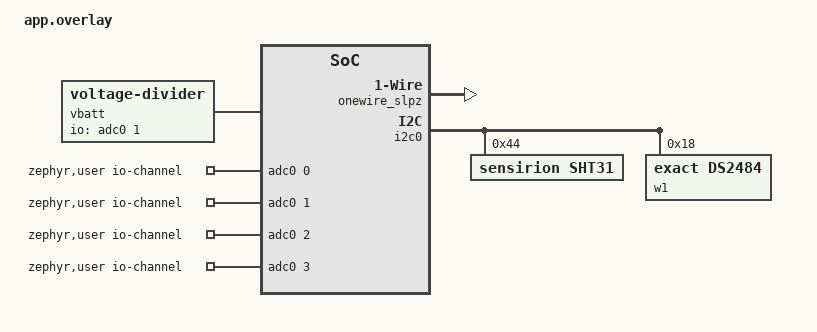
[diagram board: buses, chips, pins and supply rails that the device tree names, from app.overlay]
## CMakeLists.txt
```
# SPDX-License-Identifier: Apache-2.0

cmake_minimum_required(VERSION 3.20.0)
find_package(Zephyr REQUIRED HINTS $ENV{ZEPHYR_BASE})

project(etc_sensor_splitter_test)

set(APP_SRC_DIR ../../../../applications/etc-app/src)
set(EXACT_DIR ${ZEPHYR_ETC_COMMON_FIRMWARE_MODULE_DIR})

target_compile_options(app PRIVATE -Wno-error=double-promotion)

target_sources(app PRIVATE
  src/main.c
  src/digital.c
  src/mock/mock_deps.c
  src/mock/stub_devices.c
  ${APP_SRC_DIR}/exact/etc_sensor/etc_sensor.c
)

target_include_directories(app PRIVATE
  src
  ${APP_SRC_DIR}
  ${APP_SRC_DIR}/exact/etc_sensor
  ${APP_SRC_DIR}/exact/etc_devices
  ${APP_SRC_DIR}/exact/etc_battery
  ${APP_SRC_DIR}/exact/etc_calibration
  ${APP_SRC_DIR}/exact/etc_settings
  ${APP_SRC_DIR}/modules
  ${EXACT_DIR}/lib/adc
  ${EXACT_DIR}/drivers/sensor/tmp1826
)

zephyr_compile_definitions(CONFIG_ETC_SENSOR_LOG_LEVEL=3)
```

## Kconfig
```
# SPDX-License-Identifier: Apache-2.0

# The real symbols live under "if BOARD_ETC" in the board Kconfig and under
# "menuconfig ETC_SENSOR" in applications/etc-app/src/exact/etc_sensor/Kconfig,
# neither of which can be sourced for native_sim. Keep these in step with them.

config BOARD_ETC_0_3_0
	bool
	default y

config ETC_SENSOR_TMP1826_GPIO_RETRIES
	int
	default 3

config ETC_SENSOR_HW_LOCK_TIMEOUT_S
	int
	default 15

config CALIBRATION_TIMEOUT
	int
	default 30

# Referenced by etc_settings.h, whose real providers (LwM2M, the settings
# subsystem) are not part of this suite.
config LWM2M_SECURITY_KEY_SIZE
	int
	default 32

config SERIAL_NUMBER_TYPE
	int
	default 0

source "Kconfig.zephyr"
```

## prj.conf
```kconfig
CONFIG_ZTEST=y
CONFIG_HEAP_MEM_POOL_SIZE=4096

# etc_sensor.c pulls in event headers that need the Application Event Manager to
# compile.
CONFIG_APP_EVENT_MANAGER=y
CONFIG_APP_EVENT_MANAGER_LOG_EVENT_TYPE=n

CONFIG_GPIO=y
CONFIG_W1=y
CONFIG_SENSOR=y
CONFIG_REQUIRES_FLOAT_PRINTF=y
CONFIG_LOG=y
```

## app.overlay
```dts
/*
 * Copyright (c) 2026 EXACT Technology Corporation
 */

#include <zephyr/dt-bindings/gpio/gpio.h>

/ {
	vbatt {
		compatible = "voltage-divider";
		output-ohms = <2000000>;
		full-ohms = <4000000>;
		io-channels = <&adc0 1>;
	};

	board-control {
		vsens_enable: vsens-enable {
			compatible = "etc,output";
			control-gpios = <&gpio0 0 GPIO_ACTIVE_LOW>;
			status = "okay";
		};
		sens_sel0: sens-sel0 {
			compatible = "etc,output";
			control-gpios = <&gpio0 1 GPIO_ACTIVE_HIGH>;
			status = "okay";
		};
		sens_sel1: sens-sel1 {
			compatible = "etc,output";
			control-gpios = <&gpio0 2 GPIO_ACTIVE_HIGH>;
			status = "okay";
		};
		onewire_slpz: onewire-slpz {
			compatible = "etc,output";
			control-gpios = <&gpio0 3 GPIO_ACTIVE_LOW>;
			status = "okay";
		};
		/* Present on board 0.3.0. etc_sensor_gpios_enable() only configures
		 * sens_sel0 as an output when this node exists. */
		hw_wdt: hw-wdt {
			compatible = "etc,output";
			control-gpios = <&gpio0 4 GPIO_ACTIVE_HIGH>;
			status = "okay";
		};
	};

	zephyr,user {
		io-channels = <&adc0 0>, <&adc0 1>, <&adc0 2>, <&adc0 3>;
	};
};

&i2c0 {
	status = "okay";

	sht31: sht31@44 {
		compatible = "sensirion,sht31";
		reg = <0x44>;
		status = "okay";
	};

	w1: w1@18 {
		compatible = "exact,ds2484";
		reg = <0x18>;

		w1_tmp1826: w1_tmp1826 {
			compatible = "ti,tmp1826";
			family-code = <0x26>;
			resolution = <12>;
			status = "okay";
		};
	};
};
```

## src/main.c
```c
/*
 * Copyright (c) 2026 EXACT Technology Corporation
 *
 * Splitter detection and branch sampling in etc_sensor.c. Inputs 1..4 are the A
 * branches of the four front-end ports, inputs 5..8 the B branches, so input 7
 * is what the portal shows as port 3.B.
 */

#include <zephyr/ztest.h>

#include "mock/mock_deps.h"

#include "etc_sensor.h"
#include "events/sensor_event.h"
#include "tmp1826.h"

/* Raw ADC counts chosen so every probe in a test converts to a distinct
 * temperature. */
#define ADC_P1_A 1800
#define ADC_P1_B 1900
#define ADC_P2_A 2000
#define ADC_P2_B 2100
#define ADC_P3	 2200
#define ADC_P4	 2300

static void expect_absent(enum sensor_input input)
{
	float temp = etc_sensor_get_probe_temp(input);

	zassert_false(sensor_temperature_is_valid(temp), "input %d reported %.2f C, expected absent",
		      (int)input + 1, (double)temp);
}

static void expect_probe(enum sensor_input input, int raw_adc)
{
	float temp = etc_sensor_get_probe_temp(input);

	zassert_true(sensor_temperature_is_valid(temp), "input %d absent, expected %.2f C",
		     (int)input + 1, (double)mock_temperature(raw_adc));
	zassert_within(temp, mock_temperature(raw_adc), 0.1f, "input %d reported %.2f C, expected %.2f C",
		       (int)input + 1, (double)temp, (double)mock_temperature(raw_adc));
}

static void acquire(void)
{
	zassert_ok(etc_sensor_run_acquisition(), "acquisition failed");
}

static void before(void *fixture)
{
	ARG_UNUSED(fixture);
	mock_reset();
	etc_sensor_init(NULL);
}

ZTEST_SUITE(etc_sensor_splitter, NULL, NULL, before, NULL, NULL);

/* The configuration from FW-1071: splitters on ports 1 and 2, plain probes
 * wired directly to ports 3 and 4. Ports 3 and 4 have no B branch. */
ZTEST(etc_sensor_splitter, test_probe_without_splitter_has_no_b_branch)
{
	mock_attach_splitter(0, ADC_P1_A, ADC_P1_B);
	mock_attach_splitter(1, ADC_P2_A, ADC_P2_B);
	mock_attach_probe(2, ADC_P3);
	mock_attach_probe(3, ADC_P4);

	acquire();

	expect_probe(SENSOR_INPUT_IN1, ADC_P1_A);
	expect_probe(SENSOR_INPUT_IN2, ADC_P2_A);
	expect_probe(SENSOR_INPUT_IN3, ADC_P3);
	expect_probe(SENSOR_INPUT_IN4, ADC_P4);
	expect_probe(SENSOR_INPUT_IN5, ADC_P1_B);
	expect_probe(SENSOR_INPUT_IN6, ADC_P2_B);
	expect_absent(SENSOR_INPUT_IN7);
	expect_absent(SENSOR_INPUT_IN8);
}

/* Regression for FW-1071: the B branch used to be classified once and never
 * cleared, so a port kept publishing input 5..8 after its splitter was removed,
 * duplicating the A branch reading. */
ZTEST(etc_sensor_splitter, test_removing_a_splitter_clears_its_b_branch)
{
	mock_attach_splitter(2, ADC_P3, ADC_P3 + 400);
	acquire();
	expect_probe(SENSOR_INPUT_IN3, ADC_P3);
	expect_probe(SENSOR_INPUT_IN7, ADC_P3 + 400);

	/* Splitter swapped for a plain probe, without a reboot. */
	mock_attach_probe(2, ADC_P3);
	acquire();

	expect_probe(SENSOR_INPUT_IN3, ADC_P3);
	expect_absent(SENSOR_INPUT_IN7);
}

/* A branch that cannot be selected must be reported absent, never as whichever
 * branch the splitter happened to be pointing at. */
ZTEST(etc_sensor_splitter, test_failed_switch_to_b_does_not_publish_a)
{
	mock_attach_splitter(0, ADC_P1_A, ADC_P1_B);
	mock.port[0].switch_fail_branch = MOCK_BRANCH_B;

	acquire();

	expect_probe(SENSOR_INPUT_IN1, ADC_P1_A);
	expect_absent(SENSOR_INPUT_IN5);
}

/* A splitter that answers but will not actuate leaves the branch position
 * unknown. Neither branch may be published, and in particular the port must not
 * fall back to the no-splitter path, which samples without switching. */
ZTEST(etc_sensor_splitter, test_unreachable_splitter_publishes_neither_branch)
{
	mock_attach_splitter(0, ADC_P1_A, ADC_P1_B);
	acquire();
	expect_probe(SENSOR_INPUT_IN1, ADC_P1_A);

	mock.port[0].switch_fail_branch = MOCK_BRANCH_A;
	acquire();

	expect_absent(SENSOR_INPUT_IN1);
	expect_absent(SENSOR_INPUT_IN5);
}

/* Both branches of a splitter are sampled independently. */
ZTEST(etc_sensor_splitter, test_splitter_branches_report_distinct_values)
{
	mock_attach_splitter(0, ADC_P1_A, ADC_P1_B);
	mock_attach_splitter(1, ADC_P2_A, ADC_P2_B);

	acquire();

	expect_probe(SENSOR_INPUT_IN1, ADC_P1_A);
	expect_probe(SENSOR_INPUT_IN2, ADC_P2_A);
	expect_probe(SENSOR_INPUT_IN5, ADC_P1_B);
	expect_probe(SENSOR_INPUT_IN6, ADC_P2_B);
	expect_absent(SENSOR_INPUT_IN3);
	expect_absent(SENSOR_INPUT_IN4);
	expect_absent(SENSOR_INPUT_IN7);
	expect_absent(SENSOR_INPUT_IN8);
}

/* A splitter with only its A branch populated reports nothing on B. */
ZTEST(etc_sensor_splitter, test_splitter_with_empty_b_branch_reports_absent)
{
	mock_attach_splitter(3, ADC_P4, MOCK_ADC_OPEN);

	acquire();

	expect_probe(SENSOR_INPUT_IN4, ADC_P4);
	expect_absent(SENSOR_INPUT_IN8);
}

/* FW-808: a splitter built around a TMP1827 is register-compatible with the
 * TMP1826 and differs only in its 1-Wire family code, so it must behave
 * identically. */
ZTEST(etc_sensor_splitter, test_tmp1827_splitter_reports_b_branch)
{
	mock_attach_splitter_family(0, ADC_P1_A, ADC_P1_B, TMP1827_FAMILY_CODE);

	acquire();

	expect_probe(SENSOR_INPUT_IN1, ADC_P1_A);
	expect_probe(SENSOR_INPUT_IN5, ADC_P1_B);
}

/* Both parts will be in the field, so one image has to drive a mix of them. */
ZTEST(etc_sensor_splitter, test_mixed_splitter_families_across_ports)
{
	mock_attach_splitter_family(0, ADC_P1_A, ADC_P1_B, TMP1826_FAMILY_CODE);
	mock_attach_splitter_family(2, ADC_P3, ADC_P3 + 400, TMP1827_FAMILY_CODE);

	acquire();

	expect_probe(SENSOR_INPUT_IN1, ADC_P1_A);
	expect_probe(SENSOR_INPUT_IN5, ADC_P1_B);
	expect_probe(SENSOR_INPUT_IN3, ADC_P3);
	expect_probe(SENSOR_INPUT_IN7, ADC_P3 + 400);
}

/* Widening the family match must not turn every 1-Wire part into a splitter: a
 * DS18B20 answers the search but drives no branch switch, so its port has to be
 * treated as having a single branch. */
ZTEST(etc_sensor_splitter, test_unsupported_family_is_not_a_splitter)
{
	mock_attach_splitter_family(0, ADC_P1_A, ADC_P1_B, 0x28);

	acquire();

	expect_probe(SENSOR_INPUT_IN1, ADC_P1_A);
	expect_absent(SENSOR_INPUT_IN5);
}

/* Nothing plugged in anywhere. */
ZTEST(etc_sensor_splitter, test_all_ports_open_report_absent)
{
	acquire();

	for (enum sensor_input i = SENSOR_INPUT_IN1; i <= SENSOR_INPUT_IN8; i++) {
		expect_absent(i);
	}
}
```

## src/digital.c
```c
/*
 * Copyright (c) 2026 EXACT Technology Corporation
 *
 * Digital (SHT31 RH probe) sampling in etc_sensor.c, and the functional-test
 * detection it shares a loop with.
 */

#include <zephyr/ztest.h>

#include "mock/mock_deps.h"

#include "etc_sensor.h"
#include "events/sensor_event.h"

#define RH_TEMP	 23.5f
#define RH_HUMID 45.25f
#define ADC_NTC	 2200

static void acquire(void)
{
	zassert_ok(etc_sensor_run_acquisition(), "acquisition failed");
}

static void expect_rh_on_input(enum sensor_input input)
{
	float humid = etc_sensor_get_probe_humid();
	float temp = etc_sensor_get_probe_temp(input);

	zassert_true(sensor_humidity_is_valid(humid), "humidity absent, expected %.2f %%",
		     (double)RH_HUMID);
	zassert_within(humid, RH_HUMID, 0.01f, "humidity %.2f, expected %.2f", (double)humid,
		       (double)RH_HUMID);
	zassert_equal(etc_sensor_get_probe_humid_index(), (int)input,
		      "humidity attributed to input %d, expected %d",
		      etc_sensor_get_probe_humid_index() + 1, (int)input + 1);
	zassert_true(sensor_temperature_is_valid(temp), "input %d has no RH temperature",
		     (int)input + 1);
	zassert_within(temp, RH_TEMP, 0.01f, "input %d temperature %.2f, expected %.2f",
		       (int)input + 1, (double)temp, (double)RH_TEMP);
}

static void expect_no_rh(void)
{
	zassert_false(sensor_humidity_is_valid(etc_sensor_get_probe_humid()),
		      "humidity reported with no readable RH probe");
	zassert_equal(etc_sensor_get_probe_humid_index(), -1, "humidity attributed to a port");
}

static void before(void *fixture)
{
	ARG_UNUSED(fixture);
	mock_reset();
	etc_sensor_init(NULL);
}

ZTEST_SUITE(etc_sensor_digital, NULL, NULL, before, NULL, NULL);

/* Regression for FW-1195: the first port whose 1-Wire line idled high cleared
 * the functional-test flag and was never read, so an RH probe on port 1 was
 * dead until it was moved to another port. */
ZTEST(etc_sensor_digital, test_rh_probe_on_port_one_is_read)
{
	mock_attach_rh_probe(0, RH_TEMP, RH_HUMID);

	acquire();

	expect_rh_on_input(SENSOR_INPUT_IN1);
	zassert_equal(mock.sht31.fetches, 1, "SHT31 fetched %d times", mock.sht31.fetches);
	zassert_false(etc_sensor_get_enter_functional_test(), "functional test entered");
}

ZTEST(etc_sensor_digital, test_rh_probe_on_port_two_with_port_one_open)
{
	mock_attach_rh_probe(1, RH_TEMP, RH_HUMID);

	acquire();

	expect_rh_on_input(SENSOR_INPUT_IN2);
	zassert_equal(mock.sht31.fetches, 1, "SHT31 fetched %d times", mock.sht31.fetches);
}

/* A grounded port must neither be read nor stop the following ports from
 * being read. */
ZTEST(etc_sensor_digital, test_rh_probe_on_port_two_with_port_one_grounded)
{
	mock.port[0].line_low = true;
	mock_attach_rh_probe(1, RH_TEMP, RH_HUMID);

	acquire();

	expect_rh_on_input(SENSOR_INPUT_IN2);
	zassert_equal(mock.sht31.fetches, 1, "SHT31 fetched %d times", mock.sht31.fetches);
	zassert_false(etc_sensor_get_enter_functional_test(), "functional test entered");
}

/* FW-588: a sensor is never read through a grounded line, which hangs the bus. */
ZTEST(etc_sensor_digital, test_rh_probe_on_grounded_port_is_not_read)
{
	mock_attach_rh_probe(0, RH_TEMP, RH_HUMID);
	mock.port[0].line_low = true;
	mock_attach_probe(1, ADC_NTC);

	acquire();

	expect_no_rh();
	zassert_equal(mock.sht31.fetches, 0, "SHT31 read through a grounded line");
	zassert_false(etc_sensor_get_enter_functional_test(), "functional test entered");
}

/* The functional-test jig grounds every port. */
ZTEST(etc_sensor_digital, test_all_ports_grounded_enters_functional_test)
{
	for (int i = 0; i < MOCK_NUM_PORTS; i++) {
		mock.port[i].line_low = true;
	}
	mock_attach_rh_probe(0, RH_TEMP, RH_HUMID);

	acquire();

	expect_no_rh();
	zassert_equal(mock.sht31.fetches, 0, "SHT31 read through a grounded line");
	zassert_true(etc_sensor_get_enter_functional_test(), "functional test not entered");
}

/* An NTC probe on port 1 idles high too, so it must not shadow the RH probe. */
ZTEST(etc_sensor_digital, test_rh_probe_after_ntc_probe_is_read)
{
	mock_attach_probe(0, ADC_NTC);
	mock_attach_rh_probe(2, RH_TEMP, RH_HUMID);

	acquire();

	expect_rh_on_input(SENSOR_INPUT_IN3);
	zassert_true(sensor_temperature_is_valid(etc_sensor_get_probe_temp(SENSOR_INPUT_IN1)),
		     "NTC probe on port 1 lost");
}

ZTEST(etc_sensor_digital, test_lite_reads_rh_probe_on_port_one)
{
	mock.device_type = ETC_DEVICE_TYPE_AMBIENT;
	mock_attach_rh_probe(0, RH_TEMP, RH_HUMID);

	acquire();

	expect_rh_on_input(SENSOR_INPUT_IN1);
	zassert_false(etc_sensor_get_enter_functional_test(), "functional test entered");
}

ZTEST(etc_sensor_digital, test_embeddable_reads_rh_probe_on_port_two)
{
	mock.device_type = ETC_DEVICE_TYPE_EMBEDDABLE;
	mock_attach_rh_probe(1, RH_TEMP, RH_HUMID);

	acquire();

	expect_rh_on_input(SENSOR_INPUT_IN2);
	zassert_false(etc_sensor_get_enter_functional_test(), "functional test entered");
}
```
